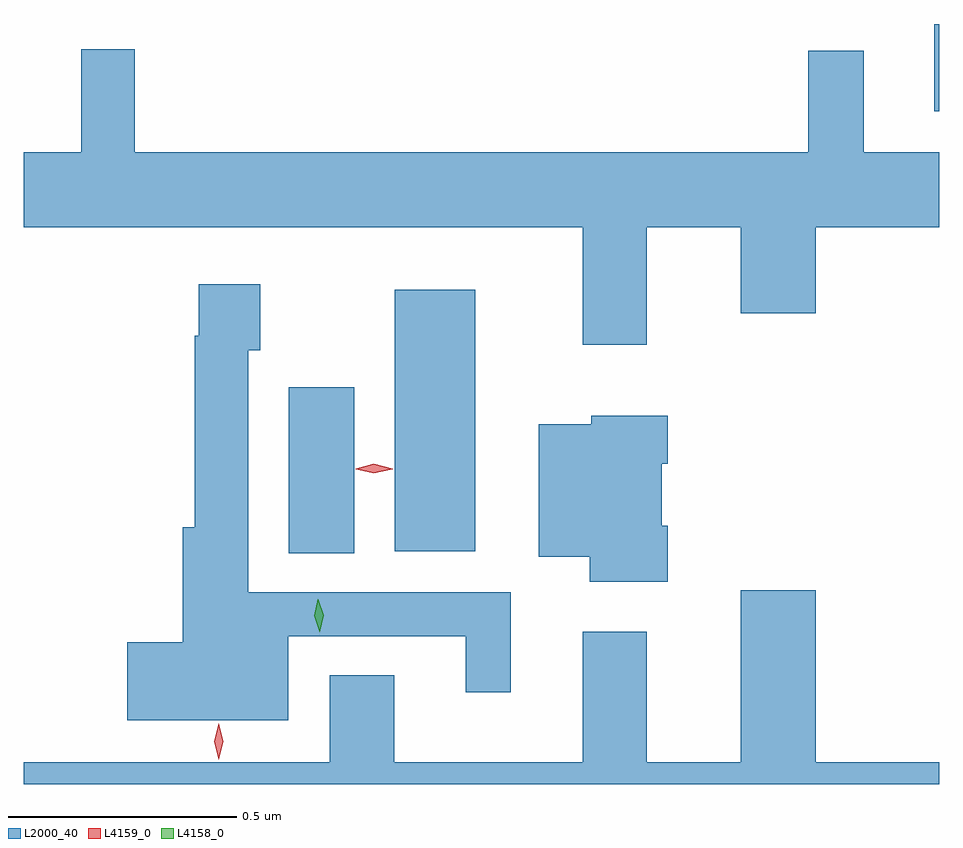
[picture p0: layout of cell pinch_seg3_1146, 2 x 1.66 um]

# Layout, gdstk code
import gdstk
lib = gdstk.Library(unit=1e-6, precision=1e-09)
def R(c, l, rs):  # rectangles x0, y0, x1, y1
    for r in rs: c.add(gdstk.rectangle(r[:2], r[2:], *l))
def P(c, l, *ps):  # polygons
    for p in ps: c.add(gdstk.Polygon(p, *l))
L2000_40 = (2000, 40)
L4158_0 = (4158, 0)
L4159_0 = (4159, 0)

pinch_seg3_1146 = lib.new_cell('pinch_seg3_1146')
R(pinch_seg3_1146, L2000_40, [(187.997,666.904,188.14,667.267), (188.228,666.908,188.404,667.48), (189.407,667.869,189.418,668.06)])
P(pinch_seg3_1146, L2000_40, [(188.779,667.616),(188.984,667.616),(188.984,667.428),(189.148,667.428),(189.148,667.616),(189.418,667.616),(189.418,667.78),(189.253,667.78),(189.253,668.002),(189.132,668.002),(189.132,667.78),(187.661,667.78),(187.661,668.005),(187.544,668.005),(187.544,667.78),(187.418,667.78),(187.418,667.616),(188.639,667.616),(188.639,667.359),(188.779,667.359)],
  [(187.996,666.723),(188.384,666.723),(188.384,666.6),(188.482,666.6),(188.482,666.819),(187.908,666.819),(187.908,667.347),(187.935,667.347),(187.935,667.492),(187.8,667.492),(187.8,667.379),(187.792,667.379),(187.792,666.961),(187.766,666.961),(187.766,666.71),(187.644,666.71),(187.644,666.539),(187.996,666.539)],
  [(188.825,666.964),(188.812,666.964),(188.812,667.1),(188.825,667.1),(188.825,667.204),(188.658,667.204),(188.658,667.186),(188.543,667.186),(188.543,666.896),(188.654,666.896),(188.654,666.842),(188.825,666.842)],
  [(189.418,666.448),(189.148,666.448),(189.148,666.823),(188.984,666.823),(188.984,666.448),(188.779,666.448),(188.779,666.733),(188.639,666.733),(188.639,666.448),(188.227,666.448),(188.227,666.638),(188.087,666.638),(188.087,666.448),(187.418,666.448),(187.418,666.4),(189.418,666.4)])
P(pinch_seg3_1146, L4158_0, [(188.065,666.732),(188.065,666.732),(188.053,666.768),(188.06,666.804),(188.061,666.804),(188.061,666.804),(188.073,666.769),(188.065,666.732)])
P(pinch_seg3_1146, L4159_0, [(188.183,667.079),(188.143,667.088),(188.143,667.089),(188.143,667.089),(188.183,667.099),(188.224,667.089),(188.224,667.089),(188.224,667.088)],
  [(187.844,666.453),(187.844,666.453),(187.834,666.493),(187.844,666.533),(187.844,666.533),(187.844,666.533),(187.854,666.493),(187.844,666.453)])

lib.write_gds('pinch_seg3_1146.gds')
